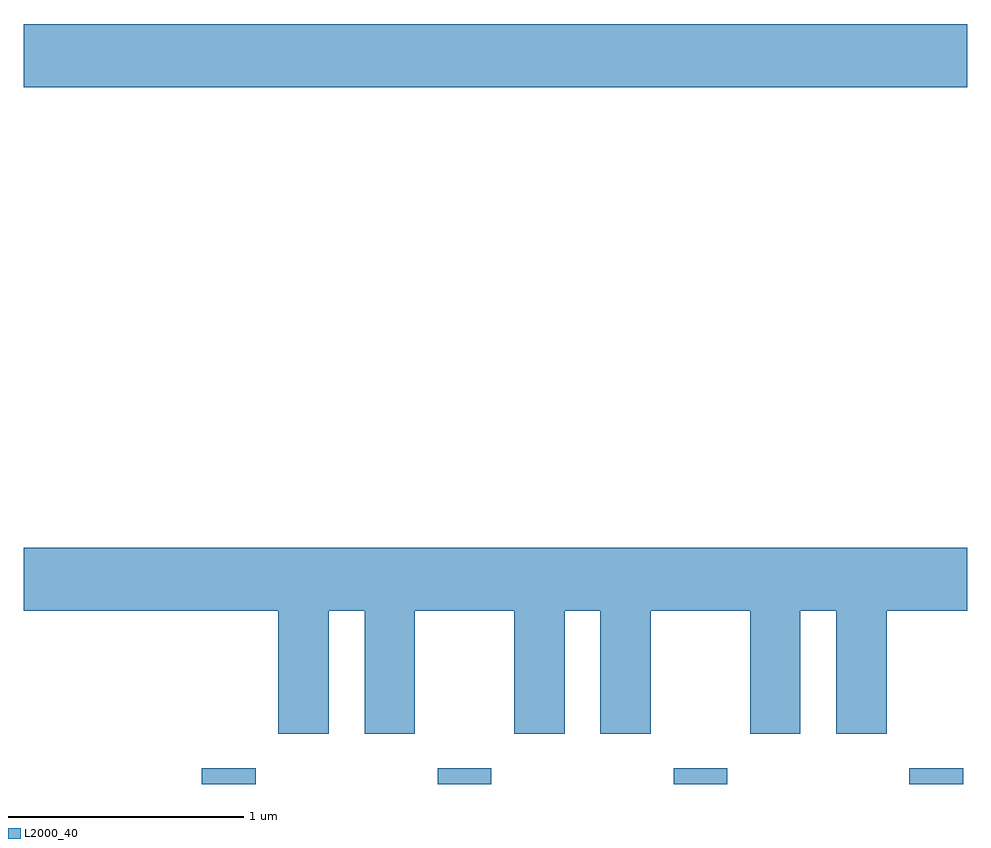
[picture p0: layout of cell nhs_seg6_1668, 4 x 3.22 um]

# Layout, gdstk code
import gdstk
lib = gdstk.Library(unit=1e-6, precision=1e-09)
def R(c, l, rs):  # rectangles x0, y0, x1, y1
    for r in rs: c.add(gdstk.rectangle(r[:2], r[2:], *l))
def A(c, l, x, y, w, h, nx, ny, dx, dy):  # array of equal rectangles
    R(c, l, [(x+i*dx, y+j*dy, x+i*dx+w, y+j*dy+h) for i in range(nx) for j in range(ny)])
def P(c, l, *ps):  # polygons
    for p in ps: c.add(gdstk.Polygon(p, *l))
L2000_40 = (2000, 40)

nhs_seg6_1668 = lib.new_cell('nhs_seg6_1668')
A(nhs_seg6_1668, L2000_40, 236.366, 1578.162, 0.228, 0.067, 4, 1, 1, 0)
R(nhs_seg6_1668, L2000_40, [(235.611,1581.116,239.611,1581.384)])
P(nhs_seg6_1668, L2000_40, [(236.904,1578.896),(237.056,1578.896),(237.056,1578.376),(237.269,1578.376),(237.269,1578.896),(237.691,1578.896),(237.691,1578.376),(237.904,1578.376),(237.904,1578.896),(238.056,1578.896),(238.056,1578.376),(238.269,1578.376),(238.269,1578.896),(238.691,1578.896),(238.691,1578.376),(238.904,1578.376),(238.904,1578.896),(239.056,1578.896),(239.056,1578.376),(239.269,1578.376),(239.269,1578.896),(239.611,1578.896),(239.611,1579.164),(235.611,1579.164),(235.611,1578.896),(236.691,1578.896),(236.691,1578.376),(236.904,1578.376)])

lib.write_gds('nhs_seg6_1668.gds')
